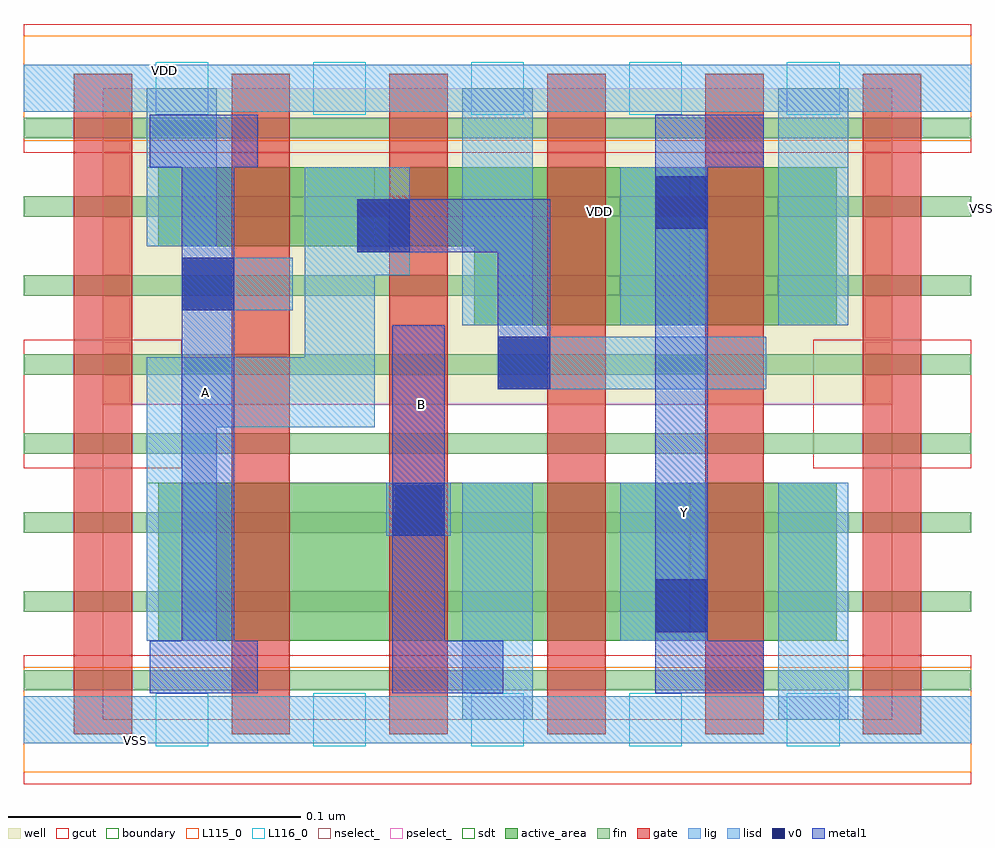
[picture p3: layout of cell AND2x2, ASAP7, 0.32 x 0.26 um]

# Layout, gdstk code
import gdstk
lib = gdstk.Library(unit=1e-6, precision=2.5e-10)
def R(c, l, rs):  # rectangles x0, y0, x1, y1
    for r in rs: c.add(gdstk.rectangle(r[:2], r[2:], *l))
def A(c, l, x, y, w, h, nx, ny, dx, dy):  # array of equal rectangles
    R(c, l, [(x+i*dx, y+j*dy, x+i*dx+w, y+j*dy+h) for i in range(nx) for j in range(ny)])
def P(c, l, *ps):  # polygons
    for p in ps: c.add(gdstk.Polygon(p, *l))
well = (1, 0)
fin = (2, 0)
gate = (7, 0)
gcut = (10, 0)
active_area = (11, 0)
nselect_ = (12, 0)
pselect_ = (13, 0)
lig = (16, 0)
lisd = (17, 0)
v0 = (18, 0)
metal1 = (19, 0)
sdt = (88, 0)
boundary = (100, 0)
L115_0 = (115, 0)
L116_0 = (116, 0)

and2x2 = lib.new_cell('AND2x2')
R(and2x2, well, [(0,0.108,0.27,0.216)])
A(and2x2, fin, -0.027, 0.01, 0.324, 0.007, 1, 8, 0, 0.027)
A(and2x2, gate, -0.01, -0.005, 0.02, 0.226, 6, 1, 0.054, 0)
R(and2x2, gcut, [(-0.027,-0.022,0.297,0.022), (-0.027,0.086,0.027,0.13), (0.243,0.086,0.297,0.13), (-0.027,0.194,0.297,0.238)])
R(and2x2, active_area, [(0.019,0.027,0.251,0.081)])
P(and2x2, active_area, [(0.251,0.189),(0.019,0.189),(0.019,0.162),(0.127,0.162),(0.127,0.135),(0.251,0.135)])
R(and2x2, nselect_, [(0,0,0.27,0.108)])
R(and2x2, pselect_, [(0,0.108,0.27,0.216)])
R(and2x2, lig, [(-0.027,-0.008,0.297,0.008), (0.097,0.063,0.119,0.081), (0.135,0.113,0.227,0.131), (0.027,0.14,0.065,0.158), (-0.027,0.208,0.297,0.224)])
R(and2x2, lisd, [(0.123,0,0.147,0.081), (0.231,0,0.255,0.081), (0.177,0.027,0.207,0.081), (0.123,0.135,0.147,0.216), (0.177,0.135,0.207,0.189), (0.231,0.135,0.255,0.216), (0.015,0.162,0.039,0.216)])
P(and2x2, lisd, [(0.105,0.189),(0.069,0.189),(0.069,0.124),(0.015,0.124),(0.015,0.027),(0.039,0.027),(0.039,0.1),(0.093,0.1),(0.093,0.152),(0.105,0.152)])
R(and2x2, v0, [(0.189,0.03,0.207,0.048), (0.099,0.063,0.117,0.081), (0.135,0.113,0.153,0.131), (0.027,0.14,0.045,0.158), (0.087,0.16,0.105,0.178), (0.189,0.168,0.207,0.186)])
R(and2x2, metal1, [(0.016,0.009,0.053,0.027), (0.027,0.009,0.045,0.207), (0.099,0.009,0.117,0.135), (0.1,0.009,0.137,0.027), (0.189,0.009,0.226,0.027), (0.189,0.009,0.207,0.207), (0.135,0.113,0.153,0.178), (0.087,0.16,0.153,0.178), (0.016,0.189,0.053,0.207), (0.189,0.189,0.226,0.207)])
A(and2x2, sdt, 0.123, 0.027, 0.024, 0.054, 3, 2, 0.054, 0.108)
R(and2x2, sdt, [(0.015,0.027,0.039,0.081), (0.015,0.162,0.039,0.189), (0.069,0.162,0.093,0.189)])
R(and2x2, boundary, [(0,0,0.27,0.216)])
R(and2x2, L115_0, [(-0.027,-0.018,0.297,0.018), (-0.027,0.198,0.297,0.234)])
A(and2x2, L116_0, 0.018, -0.009, 0.018, 0.018, 5, 2, 0.054, 0.216)
and2x2.add(gdstk.Label('Y', (0.199,0.071), layer=19, texttype=251))
and2x2.add(gdstk.Label('A', (0.035,0.112), layer=19, texttype=251))
and2x2.add(gdstk.Label('B', (0.109,0.108), layer=19, texttype=251))
and2x2.add(gdstk.Label('VDD', (0.17,0.174), layer=1, texttype=251))
and2x2.add(gdstk.Label('VSS', (0.302,0.175), layer=3, texttype=251))
and2x2.add(gdstk.Label('VSS', (0.011,-0.007), layer=115, texttype=251))
and2x2.add(gdstk.Label('VDD', (0.021,0.222), layer=115, texttype=251))

lib.write_gds('AND2x2.gds')
